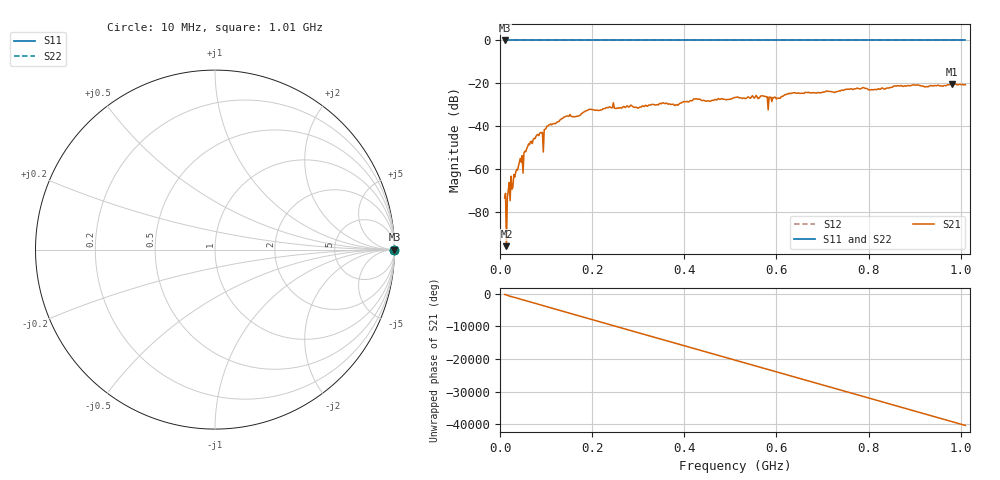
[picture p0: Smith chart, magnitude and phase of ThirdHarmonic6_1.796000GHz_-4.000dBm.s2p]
! 8/16/2025 9:43:48 PM
! C:\ANRITSUVNA\TEMP\TEMP.S2P
! CHANNEL.1
! TR.MEASUREMENT
! RAW.DATA
! RF.CORRECTION.OFF
! AVERAGING.OFF
! IF.BANDWIDTH: 5KHZ
! SWEEPTYPE:  FREQ.SWEEP(Linear)
! Reference Plane Port Info
! PORT:  PORT1  PORT2
! DISTANCE:  0  m  0  m
! TIME:  0  s  0  s
! PHASE.OFFSET:  0  deg.  0  deg.
! LOSS:  0  dB  0  dB
! REF.LOSS:  0  dB  0  dB
! REF.FREQ:  0  Hz  0  Hz
! Power Info
! POWER:  -20  dBm  -20  dBm
! EFF.POWER:  -20  dBm  -20  dBm
! SOURCE.ATTEN:  0  dB  0  dB
! TEST.ATTEN:  0  dB  0  dB
# GHZ S RI R 50.0
! FREQ.GHZ  S11RE  S11IM  S21RE  S21IM  S12RE  S12IM  S22RE  S22IM
!; PortSelection: Port_12
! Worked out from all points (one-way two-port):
!   501 points, 10 MHz to 1.01 GHz, reference 50 ohm
!   highest |S21| = -20.27 dB at 980 MHz (marker M1); lowest = -95.9 dB at 14 MHz (marker M2)
!   lowest |S11| = 0.0 dB at 10 MHz (marker M3)
!   |S11| at or under -10 dB: nowhere
!   |S22| runs from 0.0 to 0.0 dB; largest |S21 - S12| = 1.1
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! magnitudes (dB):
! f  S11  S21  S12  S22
! 10 MHz  0.0  -73.4  0.0  0.0
! 14 MHz  0.0  -95.9  0.0  0.0
! 18 MHz  0.0  -69.9  0.0  0.0
! 20 MHz  0.0  -66.2  0.0  0.0
! 26 MHz  0.0  -69.3  0.0  0.0
! 40 MHz  0.0  -58.6  0.0  0.0
! 54 MHz  0.0  -51.6  0.0  0.0
! 64 MHz  0.0  -48.6  0.0  0.0
! 84 MHz  0.0  -44.4  0.0  0.0
! 94 MHz  0.0  -52.0  0.0  0.0
! 106 MHz  0.0  -39.4  0.0  0.0
! 178 MHz  0.0  -33.9  0.0  0.0
! 242 MHz  0.0  -31.4  0.0  0.0
! 344 MHz  0.0  -30.0  0.0  0.0
! 510 MHz  0.0  -26.6  0.0  0.0
! 570 MHz  0.0  -25.8  0.0  0.0
! 586 MHz  0.0  -26.6  0.0  0.0
! 630 MHz  0.0  -24.8  0.0  0.0
! 678 MHz  0.0  -24.3  0.0  0.0
! 844 MHz  0.0  -22.2  0.0  0.0
! 980 MHz  0.0  -20.3  0.0  0.0
! 1.01 GHz  0.0  -20.6  0.0  0.0
